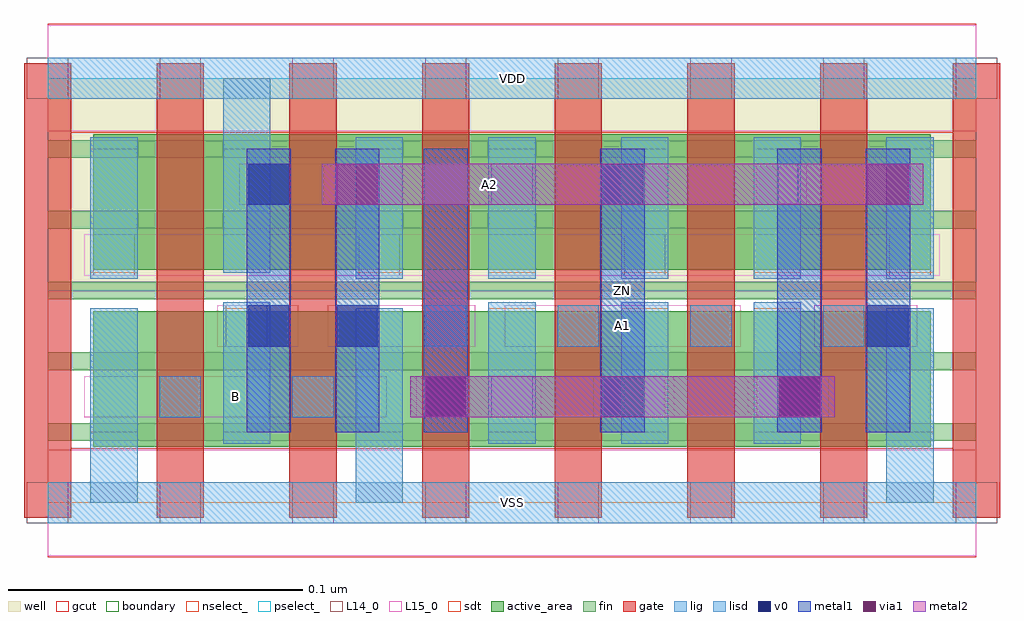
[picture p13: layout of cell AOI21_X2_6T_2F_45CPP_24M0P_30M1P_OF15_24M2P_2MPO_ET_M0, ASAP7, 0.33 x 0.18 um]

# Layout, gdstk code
import gdstk
lib = gdstk.Library(unit=1e-6, precision=2.5e-10)
def R(c, l, rs):  # rectangles x0, y0, x1, y1
    for r in rs: c.add(gdstk.rectangle(r[:2], r[2:], *l))
def A(c, l, x, y, w, h, nx, ny, dx, dy):  # array of equal rectangles
    R(c, l, [(x+i*dx, y+j*dy, x+i*dx+w, y+j*dy+h) for i in range(nx) for j in range(ny)])
well = (1, 0)
fin = (2, 0)
gate = (7, 0)
gcut = (10, 0)
active_area = (11, 0)
nselect_ = (12, 0)
pselect_ = (13, 0)
L14_0 = (14, 0)
L15_0 = (15, 0)
lig = (16, 0)
lisd = (17, 0)
v0 = (18, 0)
metal1 = (19, 0)
metal2 = (20, 0)
via1 = (21, 0)
sdt = (88, 0)
boundary = (100, 0)

aoi21_x2_6t_2f_45cpp_24m = lib.new_cell('AOI21_X2_6T_2F_45CPP_24M0P_30M1P_OF15_24M2P_2MPO_ET_M0')
R(aoi21_x2_6t_2f_45cpp_24m, well, [(0,0.072,0.315,0.144)])
A(aoi21_x2_6t_2f_45cpp_24m, fin, 0, 0.021, 0.315, 0.006, 1, 5, 0, 0.024)
A(aoi21_x2_6t_2f_45cpp_24m, gate, -0.008, -0.005, 0.016, 0.154, 8, 1, 0.045, 0)
R(aoi21_x2_6t_2f_45cpp_24m, gcut, [(0,-0.0185,0.315,0.0185), (-0.008,-0.005,0.008,0.149), (0.307,-0.005,0.323,0.149), (0,0.1255,0.315,0.1625)])
A(aoi21_x2_6t_2f_45cpp_24m, active_area, 0.0155, 0.019, 0.059, 0.046, 6, 2, 0.045, 0.06)
R(aoi21_x2_6t_2f_45cpp_24m, nselect_, [(0,0,0.315,0.072)])
R(aoi21_x2_6t_2f_45cpp_24m, pselect_, [(0,0.072,0.315,0.144)])
A(aoi21_x2_6t_2f_45cpp_24m, L14_0, -0.007, -0.007, 0.014, 0.014, 8, 2, 0.045, 0.144)
A(aoi21_x2_6t_2f_45cpp_24m, L14_0, 0.1505, 0.029, 0.014, 0.014, 3, 1, 0.045, 0)
A(aoi21_x2_6t_2f_45cpp_24m, L14_0, 0.128, 0.053, 0.014, 0.014, 4, 1, 0.045, 0)
A(aoi21_x2_6t_2f_45cpp_24m, L14_0, 0.0155, 0.077, 0.014, 0.014, 4, 1, 0.09, 0)
R(aoi21_x2_6t_2f_45cpp_24m, L14_0, [(0.038,0.029,0.052,0.043), (0.083,0.029,0.097,0.043), (0.0605,0.053,0.0745,0.067), (0.1505,0.101,0.1645,0.115), (0.2405,0.101,0.2545,0.115)])
R(aoi21_x2_6t_2f_45cpp_24m, L15_0, [(0,-0.018,0.315,0.018), (0.0125,0.029,0.115,0.043), (0.125,0.029,0.1675,0.043), (0.185,0.029,0.2125,0.043), (0.2375,0.029,0.265,0.043), (0.0575,0.053,0.085,0.067), (0.095,0.053,0.145,0.067), (0.155,0.053,0.235,0.067), (0.26,0.053,0.295,0.067), (0.0125,0.077,0.3025,0.091), (0.065,0.101,0.2575,0.115), (0,0.126,0.315,0.162)])
A(aoi21_x2_6t_2f_45cpp_24m, lig, 0.128, 0.053, 0.014, 0.014, 4, 1, 0.045, 0)
R(aoi21_x2_6t_2f_45cpp_24m, lig, [(0,-0.007,0.315,0.007), (0.038,0.029,0.052,0.043), (0.083,0.029,0.097,0.043), (0,0.137,0.315,0.151)])
A(aoi21_x2_6t_2f_45cpp_24m, lisd, 0.1495, 0.02, 0.016, 0.048, 3, 1, 0.045, 0)
A(aoi21_x2_6t_2f_45cpp_24m, lisd, 0.1045, 0.076, 0.016, 0.048, 5, 1, 0.045, 0)
R(aoi21_x2_6t_2f_45cpp_24m, lisd, [(0.0145,0,0.0305,0.066), (0.1045,0,0.1205,0.066), (0.2845,0,0.3005,0.066), (0.0595,0.02,0.0755,0.068), (0.0145,0.076,0.0305,0.124), (0.0595,0.078,0.0755,0.144)])
A(aoi21_x2_6t_2f_45cpp_24m, v0, 0.128, 0.029, 0.014, 0.014, 3, 1, 0.06, 0)
R(aoi21_x2_6t_2f_45cpp_24m, v0, [(0.068,0.053,0.082,0.067), (0.098,0.053,0.112,0.067), (0.278,0.053,0.292,0.067), (0.068,0.101,0.082,0.115), (0.188,0.101,0.202,0.115)])
A(aoi21_x2_6t_2f_45cpp_24m, metal1, 0.0675, 0.024, 0.015, 0.096, 3, 1, 0.03, 0)
R(aoi21_x2_6t_2f_45cpp_24m, metal1, [(0.1875,0.024,0.2025,0.12), (0.2475,0.024,0.2625,0.12), (0.2775,0.024,0.2925,0.12)])
R(aoi21_x2_6t_2f_45cpp_24m, metal2, [(0.123,0.029,0.267,0.043), (0.093,0.101,0.297,0.115)])
R(aoi21_x2_6t_2f_45cpp_24m, via1, [(0.128,0.029,0.142,0.043), (0.248,0.029,0.262,0.043), (0.098,0.101,0.112,0.115), (0.278,0.101,0.292,0.115)])
A(aoi21_x2_6t_2f_45cpp_24m, sdt, 0.0145, 0.024, 0.016, 0.042, 7, 2, 0.045, 0.054)
R(aoi21_x2_6t_2f_45cpp_24m, boundary, [(0,0,0.315,0.144)])
aoi21_x2_6t_2f_45cpp_24m.add(gdstk.Label('B', (0.0638,0.036), layer=15, texttype=251))
aoi21_x2_6t_2f_45cpp_24m.add(gdstk.Label('A1', (0.195,0.06), layer=15, texttype=251))
aoi21_x2_6t_2f_45cpp_24m.add(gdstk.Label('VDD', (0.1575,0.144), layer=15, texttype=251))
aoi21_x2_6t_2f_45cpp_24m.add(gdstk.Label('VSS', (0.1575,0), layer=15, texttype=251))
aoi21_x2_6t_2f_45cpp_24m.add(gdstk.Label('VDD', (0.1575,0.144), layer=1, texttype=251))
aoi21_x2_6t_2f_45cpp_24m.add(gdstk.Label('VSS', (0.1575,0), layer=3, texttype=251))
aoi21_x2_6t_2f_45cpp_24m.add(gdstk.Label('ZN', (0.195,0.072), layer=19, texttype=251))
aoi21_x2_6t_2f_45cpp_24m.add(gdstk.Label('A2', (0.15,0.108), layer=20, texttype=251))

lib.write_gds('AOI21_X2_6T_2F_45CPP_24M0P_30M1P_OF15_24M2P_2MPO_ET_M0.gds')
